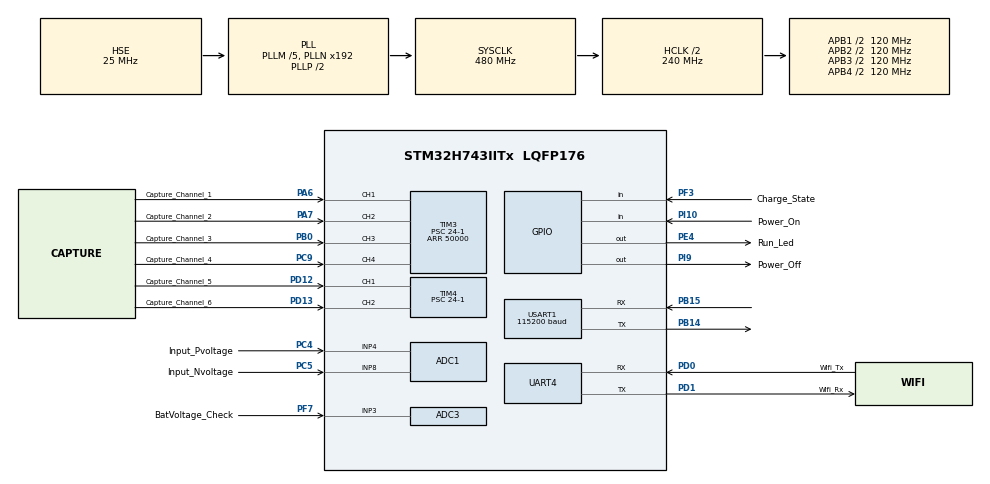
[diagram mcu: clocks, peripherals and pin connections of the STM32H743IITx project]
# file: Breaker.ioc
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ADC1.Channel-0\#ChannelRegularConversion=ADC_CHANNEL_4
ADC1.Channel-1\#ChannelRegularConversion=ADC_CHANNEL_8
ADC1.ClockPrescaler=ADC_CLOCK_ASYNC_DIV4
ADC1.ContinuousConvMode=ENABLE
ADC1.ConversionDataManagement=ADC_CONVERSIONDATA_DMA_CIRCULAR
ADC1.EOCSelection=ADC_EOC_SINGLE_CONV
ADC1.NbrOfConversion=2
ADC1.NbrOfConversionFlag=1
ADC1.OffsetNumber-0\#ChannelRegularConversion=ADC_OFFSET_NONE
ADC1.OffsetNumber-1\#ChannelRegularConversion=ADC_OFFSET_NONE
ADC1.OffsetSignedSaturation-0\#ChannelRegularConversion=DISABLE
ADC1.OffsetSignedSaturation-1\#ChannelRegularConversion=DISABLE
ADC1.OversamplingMode=ENABLE
ADC1.Rank-0\#ChannelRegularConversion=1
ADC1.Rank-1\#ChannelRegularConversion=2
ADC1.Ratio=31
ADC1.RightBitShift=ADC_RIGHTBITSHIFT_5
ADC1.SamplingTime-0\#ChannelRegularConversion=ADC_SAMPLETIME_810CYCLES_5
ADC1.SamplingTime-1\#ChannelRegularConversion=ADC_SAMPLETIME_810CYCLES_5
ADC1.master=1
ADC3.Channel-2\#ChannelRegularConversion=ADC_CHANNEL_3
ADC3.Channel-3\#ChannelRegularConversion=ADC_CHANNEL_TEMPSENSOR
ADC3.ClockPrescaler=ADC_CLOCK_ASYNC_DIV4
ADC3.ContinuousConvMode=ENABLE
ADC3.ConversionDataManagement=ADC_CONVERSIONDATA_DMA_CIRCULAR
ADC3.DiscontinuousConvMode=DISABLE
ADC3.EOCSelection=ADC_EOC_SINGLE_CONV
ADC3.EnableRegularConversion=ENABLE
ADC3.NbrOfConversion=2
ADC3.NbrOfConversionFlag=1
ADC3.OffsetNumber-2\#ChannelRegularConversion=ADC_OFFSET_NONE
ADC3.OffsetNumber-3\#ChannelRegularConversion=ADC_OFFSET_NONE
ADC3.OffsetSignedSaturation-2\#ChannelRegularConversion=DISABLE
ADC3.OffsetSignedSaturation-3\#ChannelRegularConversion=DISABLE
ADC3.OversamplingMode=ENABLE
ADC3.Rank-2\#ChannelRegularConversion=1
ADC3.Rank-3\#ChannelRegularConversion=2
ADC3.Ratio=31
ADC3.Resolution=ADC_RESOLUTION_16B
ADC3.RightBitShift=ADC_RIGHTBITSHIFT_5
ADC3.SamplingTime-2\#ChannelRegularConversion=ADC_SAMPLETIME_810CYCLES_5
ADC3.SamplingTime-3\#ChannelRegularConversion=ADC_SAMPLETIME_810CYCLES_5
Bdma.ADC3.0.Direction=DMA_PERIPH_TO_MEMORY
Bdma.ADC3.0.EventEnable=DISABLE
Bdma.ADC3.0.Instance=BDMA_Channel0
Bdma.ADC3.0.MemDataAlignment=DMA_MDATAALIGN_HALFWORD
Bdma.ADC3.0.MemInc=DMA_MINC_ENABLE
Bdma.ADC3.0.Mode=DMA_CIRCULAR
Bdma.ADC3.0.PeriphDataAlignment=DMA_PDATAALIGN_HALFWORD
Bdma.ADC3.0.PeriphInc=DMA_PINC_DISABLE
Bdma.ADC3.0.Polarity=HAL_DMAMUX_REQ_GEN_RISING
Bdma.ADC3.0.Priority=DMA_PRIORITY_LOW
Bdma.ADC3.0.RequestNumber=1
Bdma.ADC3.0.SignalID=NONE
Bdma.ADC3.0.SyncEnable=DISABLE
Bdma.ADC3.0.SyncPolarity=HAL_DMAMUX_SYNC_NO_EVENT
Bdma.ADC3.0.SyncRequestNumber=1
Bdma.ADC3.0.SyncSignalID=NONE
Bdma.Request0=ADC3
Bdma.RequestsNb=1
CORTEX_M7.AccessPermission-Cortex_Memory_Protection_Unit_Region0_Settings=MPU_REGION_FULL_ACCESS
CORTEX_M7.AccessPermission-Cortex_Memory_Protection_Unit_Region1_Settings=MPU_REGION_FULL_ACCESS
CORTEX_M7.AccessPermission-Cortex_Memory_Protection_Unit_Region2_Settings=MPU_REGION_FULL_ACCESS
CORTEX_M7.BaseAddress-Cortex_Memory_Protection_Unit_Region0_Settings=0x20000000
CORTEX_M7.BaseAddress-Cortex_Memory_Protection_Unit_Region1_Settings=0x24000000
CORTEX_M7.BaseAddress-Cortex_Memory_Protection_Unit_Region2_Settings=0x38000000
CORTEX_M7.CPU_DCache=Enabled
CORTEX_M7.CPU_ICache=Enabled
CORTEX_M7.Enable-Cortex_Memory_Protection_Unit_Region0_Settings=MPU_REGION_ENABLE
CORTEX_M7.Enable-Cortex_Memory_Protection_Unit_Region1_Settings=MPU_REGION_ENABLE
CORTEX_M7.Enable-Cortex_Memory_Protection_Unit_Region2_Settings=MPU_REGION_ENABLE
CORTEX_M7.IsBufferable-Cortex_Memory_Protection_Unit_Region0_Settings=MPU_ACCESS_BUFFERABLE
CORTEX_M7.IsBufferable-Cortex_Memory_Protection_Unit_Region1_Settings=MPU_ACCESS_NOT_BUFFERABLE
CORTEX_M7.IsCacheable-Cortex_Memory_Protection_Unit_Region0_Settings=MPU_ACCESS_CACHEABLE
CORTEX_M7.IsCacheable-Cortex_Memory_Protection_Unit_Region1_Settings=MPU_ACCESS_CACHEABLE
CORTEX_M7.IsCacheable-Cortex_Memory_Protection_Unit_Region2_Settings=MPU_ACCESS_CACHEABLE
CORTEX_M7.MPU_Control=MPU_PRIVILEGED_DEFAULT
CORTEX_M7.Size-Cortex_Memory_Protection_Unit_Region0_Settings=MPU_REGION_SIZE_128KB
CORTEX_M7.Size-Cortex_Memory_Protection_Unit_Region1_Settings=MPU_REGION_SIZE_512KB
CORTEX_M7.Size-Cortex_Memory_Protection_Unit_Region2_Settings=MPU_REGION_SIZE_64KB
CORTEX_M7.TypeExtField-Cortex_Memory_Protection_Unit_Region0_Settings=MPU_TEX_LEVEL1
CORTEX_M7.TypeExtField-Cortex_Memory_Protection_Unit_Region1_Settings=MPU_TEX_LEVEL1
Dma.ADC1.2.Direction=DMA_PERIPH_TO_MEMORY
Dma.ADC1.2.EventEnable=DISABLE
Dma.ADC1.2.FIFOMode=DMA_FIFOMODE_DISABLE
Dma.ADC1.2.Instance=DMA1_Stream2
Dma.ADC1.2.MemDataAlignment=DMA_MDATAALIGN_HALFWORD
Dma.ADC1.2.MemInc=DMA_MINC_ENABLE
Dma.ADC1.2.Mode=DMA_CIRCULAR
Dma.ADC1.2.PeriphDataAlignment=DMA_PDATAALIGN_HALFWORD
Dma.ADC1.2.PeriphInc=DMA_PINC_DISABLE
Dma.ADC1.2.Polarity=HAL_DMAMUX_REQ_GEN_RISING
Dma.ADC1.2.Priority=DMA_PRIORITY_MEDIUM
Dma.ADC1.2.RequestNumber=1
Dma.ADC1.2.SignalID=NONE
Dma.ADC1.2.SyncEnable=DISABLE
Dma.ADC1.2.SyncPolarity=HAL_DMAMUX_SYNC_NO_EVENT
Dma.ADC1.2.SyncRequestNumber=1
Dma.ADC1.2.SyncSignalID=NONE
Dma.Request0=USART1_RX
Dma.Request1=USART1_TX
Dma.Request2=ADC1
Dma.Request3=UART4_TX
Dma.Request4=UART4_RX
Dma.UART4_RX.4.Direction=DMA_PERIPH_TO_MEMORY
Dma.UART4_RX.4.EventEnable=DISABLE
Dma.UART4_RX.4.FIFOMode=DMA_FIFOMODE_DISABLE
Dma.UART4_RX.4.Instance=DMA1_Stream4
Dma.UART4_RX.4.MemDataAlignment=DMA_MDATAALIGN_BYTE
Dma.UART4_RX.4.MemInc=DMA_MINC_ENABLE
Dma.UART4_RX.4.Mode=DMA_NORMAL
Dma.UART4_RX.4.PeriphDataAlignment=DMA_PDATAALIGN_BYTE
Dma.UART4_RX.4.PeriphInc=DMA_PINC_DISABLE
Dma.UART4_RX.4.Polarity=HAL_DMAMUX_REQ_GEN_RISING
Dma.UART4_RX.4.Priority=DMA_PRIORITY_LOW
Dma.UART4_RX.4.RequestNumber=1
Dma.UART4_RX.4.SignalID=NONE
Dma.UART4_RX.4.SyncEnable=DISABLE
Dma.UART4_RX.4.SyncPolarity=HAL_DMAMUX_SYNC_NO_EVENT
Dma.UART4_RX.4.SyncRequestNumber=1
Dma.UART4_RX.4.SyncSignalID=NONE
Dma.UART4_TX.3.Direction=DMA_MEMORY_TO_PERIPH
Dma.UART4_TX.3.EventEnable=DISABLE
Dma.UART4_TX.3.FIFOMode=DMA_FIFOMODE_DISABLE
Dma.UART4_TX.3.Instance=DMA1_Stream3
Dma.UART4_TX.3.MemDataAlignment=DMA_MDATAALIGN_BYTE
Dma.UART4_TX.3.MemInc=DMA_MINC_ENABLE
Dma.UART4_TX.3.Mode=DMA_NORMAL
Dma.UART4_TX.3.PeriphDataAlignment=DMA_PDATAALIGN_BYTE
Dma.UART4_TX.3.PeriphInc=DMA_PINC_DISABLE
Dma.UART4_TX.3.Polarity=HAL_DMAMUX_REQ_GEN_RISING
Dma.UART4_TX.3.Priority=DMA_PRIORITY_LOW
Dma.UART4_TX.3.RequestNumber=1
Dma.UART4_TX.3.SignalID=NONE
Dma.UART4_TX.3.SyncEnable=DISABLE
Dma.UART4_TX.3.SyncPolarity=HAL_DMAMUX_SYNC_NO_EVENT
Dma.UART4_TX.3.SyncRequestNumber=1
Dma.UART4_TX.3.SyncSignalID=NONE
Dma.USART1_RX.0.Direction=DMA_PERIPH_TO_MEMORY
Dma.USART1_RX.0.EventEnable=DISABLE
Dma.USART1_RX.0.FIFOMode=DMA_FIFOMODE_DISABLE
Dma.USART1_RX.0.Instance=DMA1_Stream0
Dma.USART1_RX.0.MemDataAlignment=DMA_MDATAALIGN_BYTE
Dma.USART1_RX.0.MemInc=DMA_MINC_ENABLE
Dma.USART1_RX.0.Mode=DMA_NORMAL
Dma.USART1_RX.0.PeriphDataAlignment=DMA_PDATAALIGN_BYTE
Dma.USART1_RX.0.PeriphInc=DMA_PINC_DISABLE
Dma.USART1_RX.0.Polarity=HAL_DMAMUX_REQ_GEN_RISING
Dma.USART1_RX.0.Priority=DMA_PRIORITY_HIGH
Dma.USART1_RX.0.RequestNumber=1
Dma.USART1_RX.0.SignalID=NONE
Dma.USART1_RX.0.SyncEnable=DISABLE
Dma.USART1_RX.0.SyncPolarity=HAL_DMAMUX_SYNC_NO_EVENT
Dma.USART1_RX.0.SyncRequestNumber=1
Dma.USART1_RX.0.SyncSignalID=NONE
Dma.USART1_TX.1.Direction=DMA_MEMORY_TO_PERIPH
Dma.USART1_TX.1.EventEnable=DISABLE
Dma.USART1_TX.1.FIFOMode=DMA_FIFOMODE_DISABLE
Dma.USART1_TX.1.Instance=DMA1_Stream1
Dma.USART1_TX.1.MemDataAlignment=DMA_MDATAALIGN_BYTE
Dma.USART1_TX.1.MemInc=DMA_MINC_ENABLE
Dma.USART1_TX.1.Mode=DMA_NORMAL
Dma.USART1_TX.1.PeriphDataAlignment=DMA_PDATAALIGN_BYTE
Dma.USART1_TX.1.PeriphInc=DMA_PINC_DISABLE
Dma.USART1_TX.1.Polarity=HAL_DMAMUX_REQ_GEN_RISING
Dma.USART1_TX.1.Priority=DMA_PRIORITY_HIGH
Dma.USART1_TX.1.RequestNumber=1
Dma.USART1_TX.1.SignalID=NONE
Dma.USART1_TX.1.SyncEnable=DISABLE
Dma.USART1_TX.1.SyncPolarity=HAL_DMAMUX_SYNC_NO_EVENT
Dma.USART1_TX.1.SyncRequestNumber=1
Dma.USART1_TX.1.SyncSignalID=NONE
FREERTOS.Tasks01=Uart_Task,0,256,Report_Task,Default,NULL,Dynamic,NULL,NULL;Run_Task,-2,128,Led_Task,Default,NULL,Dynamic,NULL,NULL;Data_HandleTask,1,1024,Wave_HandleTask,Default,NULL,Dynamic,NULL,NULL;Dwin_Task,2,512,Dwin_HandleTask,Default,NULL,Dynamic,NULL,NULL;IWDG_Task,3,128,Idog_Task,Default,NULL,Dynamic,NULL,NULL;Sampling_Task,-1,256,Adc_Task,Default,NULL,Dynamic,NULL,NULL
FREERTOS.configENABLE_FPU=1
FREERTOS.configQUEUE_REGISTRY_SIZE=16
FREERTOS.configTOTAL_HEAP_SIZE=12288
FREERTOS.configUSE_COUNTING_SEMAPHORES=0
FREERTOS.configUSE_RECURSIVE_MUTEXES=0
FREERTOS.configUSE_TIMERS=1
IWDG1.Prescaler=IWDG_PRESCALER_32
IWDG1.Reload=4000
IWDG1.Window=4000
Mcu.Family=STM32H7
Mcu.Name=STM32H743IITx
Mcu.Package=LQFP176
NVIC.BDMA_Channel0_IRQn=true\:5\:0\:true\:false\:true\:true\:false\:true
NVIC.DMA1_Stream0_IRQn=true\:5\:0\:true\:false\:true\:true\:false\:true
NVIC.DMA1_Stream1_IRQn=true\:5\:0\:true\:false\:true\:true\:false\:true
NVIC.DMA1_Stream2_IRQn=true\:5\:0\:false\:false\:true\:true\:false\:true
NVIC.DMA1_Stream3_IRQn=true\:5\:0\:false\:false\:true\:true\:false\:true
NVIC.DMA1_Stream4_IRQn=true\:5\:0\:false\:false\:true\:true\:false\:true
NVIC.PriorityGroup=NVIC_PRIORITYGROUP_4
NVIC.TIM2_IRQn=true\:0\:0\:false\:false\:true\:false\:false\:true
NVIC.TIM3_IRQn=true\:1\:0\:true\:false\:true\:false\:true\:true
NVIC.TIM4_IRQn=true\:1\:0\:true\:false\:true\:false\:true\:true
NVIC.TIM6_DAC_IRQn=true\:2\:0\:true\:false\:true\:false\:true\:true
NVIC.TimeBase=TIM2_IRQn
NVIC.TimeBaseIP=TIM2
NVIC.UART4_IRQn=true\:5\:0\:false\:false\:true\:true\:true\:true
NVIC.USART1_IRQn=true\:5\:0\:true\:false\:true\:true\:true\:true
PA6.GPIO_Label=Capture_Channel_1
PA6.GPIO_PuPd=GPIO_PULLDOWN
PA6.GPIO_Speed=GPIO_SPEED_FREQ_VERY_HIGH
PA6.Signal=S_TIM3_CH1
PA7.GPIO_Label=Capture_Channel_2
PA7.GPIO_PuPd=GPIO_PULLDOWN
PA7.GPIO_Speed=GPIO_SPEED_FREQ_VERY_HIGH
PA7.Signal=S_TIM3_CH2
PB0.GPIO_Label=Capture_Channel_3
PB0.GPIO_PuPd=GPIO_PULLDOWN
PB0.GPIO_Speed=GPIO_SPEED_FREQ_VERY_HIGH
PB0.Signal=S_TIM3_CH3
PB14.GPIO_Speed=GPIO_SPEED_FREQ_VERY_HIGH
PB14.Mode=Asynchronous
PB14.Signal=USART1_TX
PB15.GPIO_Speed=GPIO_SPEED_FREQ_VERY_HIGH
PB15.Mode=Asynchronous
PB15.Signal=USART1_RX
PC14-OSC32_IN\ (OSC32_IN).Mode=LSE-External-Oscillator
PC14-OSC32_IN\ (OSC32_IN).Signal=RCC_OSC32_IN
PC15-OSC32_OUT\ (OSC32_OUT).Mode=LSE-External-Oscillator
PC15-OSC32_OUT\ (OSC32_OUT).Signal=RCC_OSC32_OUT
PC4.GPIO_Label=Input_Pvoltage
PC4.Signal=ADCx_INP4
PC5.GPIO_Label=Input_Nvoltage
PC5.Signal=ADCx_INP8
PC9.GPIO_Label=Capture_Channel_4
PC9.GPIO_PuPd=GPIO_PULLDOWN
PC9.GPIO_Speed=GPIO_SPEED_FREQ_VERY_HIGH
PC9.Signal=S_TIM3_CH4
PD0.GPIO_Label=Wifi_Tx
PD0.Mode=Asynchronous
PD0.Signal=UART4_RX
PD1.GPIO_Label=Wifi_Rx
PD1.Mode=Asynchronous
PD1.Signal=UART4_TX
PD12.GPIO_Label=Capture_Channel_5
PD12.GPIO_PuPd=GPIO_PULLDOWN
PD12.GPIO_Speed=GPIO_SPEED_FREQ_VERY_HIGH
PD12.Signal=S_TIM4_CH1
PD13.GPIO_Label=Capture_Channel_6
PD13.GPIO_PuPd=GPIO_PULLDOWN
PD13.GPIO_Speed=GPIO_SPEED_FREQ_VERY_HIGH
PD13.Signal=S_TIM4_CH2
PE4.GPIO_Label=Run_Led
PE4.Signal=GPIO_Output
PF3.GPIO_Label=Charge_State
PF3.Signal=GPIO_Input
PF7.GPIO_Label=BatVoltage_Check
PF7.Mode=IN3-Single-Ended
PF7.Signal=ADC3_INP3
PH0-OSC_IN\ (PH0).Mode=HSE-External-Oscillator
PH0-OSC_IN\ (PH0).Signal=RCC_OSC_IN
PH1-OSC_OUT\ (PH1).Mode=HSE-External-Oscillator
PH1-OSC_OUT\ (PH1).Signal=RCC_OSC_OUT
PI10.GPIO_Label=Power_On
PI10.Signal=GPIO_Input
PI9.GPIO_Label=Power_Off
PI9.GPIO_PuPd=GPIO_PULLUP
PI9.GPIO_Speed=GPIO_SPEED_FREQ_VERY_HIGH
PI9.PinState=GPIO_PIN_RESET
PI9.Signal=GPIO_Output
ProjectManager.HeapSize=0x200
ProjectManager.StackSize=0x2000
ProjectManager.TargetToolchain=MDK-ARM V5.27
RCC.ADCFreq_Value=80000000
RCC.APB1Freq_Value=120000000
RCC.APB2Freq_Value=120000000
RCC.APB3Freq_Value=120000000
RCC.APB4Freq_Value=120000000
RCC.CortexFreq_Value=480000000
RCC.D1PPRE=RCC_APB3_DIV2
RCC.D2PPRE1=RCC_APB1_DIV2
RCC.D2PPRE2=RCC_APB2_DIV2
RCC.D3PPRE=RCC_APB4_DIV2
RCC.DIVM1=5
RCC.DIVM2=5
RCC.DIVM3=5
RCC.DIVN1=192
RCC.DIVN2=32
RCC.DIVN3=32
RCC.HCLKFreq_Value=240000000
RCC.HPRE=RCC_HCLK_DIV2
RCC.HSE_VALUE=25000000
RCC.PLLSourceVirtual=RCC_PLLSOURCE_HSE
RCC.SYSCLKFreq_VALUE=480000000
RCC.SYSCLKSource=RCC_SYSCLKSOURCE_PLLCLK
RCC.USBFreq_Value=480000000
SH.ADCx_INP4.0=ADC1_INP4,IN4-Single-Ended
SH.ADCx_INP8.0=ADC1_INP8,IN8-Single-Ended
SH.S_TIM3_CH1.0=TIM3_CH1,Input_Capture1_from_TI1
SH.S_TIM3_CH2.0=TIM3_CH2,Input_Capture2_from_TI2
SH.S_TIM3_CH3.0=TIM3_CH3,Input_Capture3_from_TI3
SH.S_TIM3_CH4.0=TIM3_CH4,Input_Capture4_from_TI4
SH.S_TIM4_CH1.0=TIM4_CH1,Input_Capture1_from_TI1
SH.S_TIM4_CH2.0=TIM4_CH2,Input_Capture2_from_TI2
TIM3.AutoReloadPreload=TIM_AUTORELOAD_PRELOAD_ENABLE
TIM3.Channel-Input_Capture1_from_TI1=TIM_CHANNEL_1
TIM3.Channel-Input_Capture2_from_TI2=TIM_CHANNEL_2
TIM3.Channel-Input_Capture3_from_TI3=TIM_CHANNEL_3
TIM3.Channel-Input_Capture4_from_TI4=TIM_CHANNEL_4
TIM3.ICFilter_CH1=0
TIM3.ICFilter_CH2=0
TIM3.ICFilter_CH3=0
TIM3.ICFilter_CH4=0
TIM3.ICPolarity_CH1=TIM_INPUTCHANNELPOLARITY_BOTHEDGE
TIM3.ICPolarity_CH2=TIM_INPUTCHANNELPOLARITY_BOTHEDGE
TIM3.ICPolarity_CH3=TIM_INPUTCHANNELPOLARITY_BOTHEDGE
TIM3.ICPolarity_CH4=TIM_INPUTCHANNELPOLARITY_BOTHEDGE
TIM3.Period=50000
TIM3.Prescaler=24-1
TIM3.TIM_MasterOutputTrigger=TIM_TRGO_RESET
TIM4.Channel-Input_Capture1_from_TI1=TIM_CHANNEL_1
TIM4.Channel-Input_Capture2_from_TI2=TIM_CHANNEL_2
TIM4.ICPolarity_CH1=TIM_INPUTCHANNELPOLARITY_BOTHEDGE
TIM4.ICPolarity_CH2=TIM_INPUTCHANNELPOLARITY_BOTHEDGE
TIM4.Period=50000
TIM4.Prescaler=24-1
TIM4.TIM_MasterOutputTrigger=TIM_TRGO_RESET
TIM4.TIM_MasterSlaveMode=TIM_MASTERSLAVEMODE_DISABLE
TIM6.AutoReloadPreload=TIM_AUTORELOAD_PRELOAD_ENABLE
TIM6.Period=10000
TIM6.Prescaler=240-1
USART1.BaudRate=115200
USART1.FIFOMode=FIFOMODE_DISABLE
USART1.TXFIFOThreshold=TXFIFO_THRESHOLD_1EIGHTHFULL
USART1.VirtualMode-Asynchronous=VM_ASYNC
VP_ADC3_TempSens_Input.Mode=IN-TempSens
VP_FREERTOS_VS_CMSIS_V1.Mode=CMSIS_V1
VP_IWDG1_VS_IWDG.Mode=IWDG_Activate
VP_SYS_VS_tim2.Mode=TIM2
VP_TIM3_VS_ClockSourceINT.Mode=Internal
VP_TIM4_VS_ClockSourceINT.Mode=Internal
VP_TIM6_VS_ClockSourceINT.Mode=Enable_Timer
board=custom

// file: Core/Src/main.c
/* USER CODE BEGIN Header */
/**
 ******************************************************************************
 * @file           : main.c
 * @brief          : Main program body
 ******************************************************************************
 * @attention
 *
 * <h2><center>&copy; Copyright (c) 2021 STMicroelectronics.
 * All rights reserved.</center></h2>
 *
 * This software component is licensed by ST under BSD 3-Clause license,
 * the "License"; You may not use this file except in compliance with the
 * License. You may obtain a copy of the License at:
 *                        opensource.org/licenses/BSD-3-Clause
 *
 ******************************************************************************
 */
/* USER CODE END Header */
#include "main.h"
#include "cmsis_os.h"
#include "adc.h"
#include "bdma.h"
#include "dma.h"
#include "iwdg.h"
#include "tim.h"
#include "usart.h"
#include "gpio.h"

/* USER CODE BEGIN Includes */
#include "Dwin.h"
#include "mdrtuslave.h"
/* USER CODE END Includes */

/* USER CODE BEGIN PTD */
// extern osSemaphoreId SynData_HandleHandle;
/* USER CODE END PTD */

void SystemClock_Config(void);
void PeriphCommonClock_Config(void);
static void MPU_Config(void);
void MX_FREERTOS_Init(void);

int main(void)
{

  /* MPU Configuration--------------------------------------------------------*/
  MPU_Config();

  /* Enable I-Cache---------------------------------------------------------*/
  SCB_EnableICache();

  /* Enable D-Cache---------------------------------------------------------*/
  SCB_EnableDCache();

  /* MCU Configuration--------------------------------------------------------*/

  /* Reset of all peripherals, Initializes the Flash interface and the Systick. */
  HAL_Init();

  /* Configure the system clock */
  SystemClock_Config();

/* Configure the peripherals common clocks */
  PeriphCommonClock_Config();

  /* Initialize all configured peripherals */
  MX_GPIO_Init();
  MX_BDMA_Init();
  MX_DMA_Init();
  MX_USART1_UART_Init();
  MX_TIM3_Init();
  MX_TIM4_Init();
  MX_TIM6_Init();
  MX_IWDG1_Init();
  MX_ADC1_Init();
  MX_ADC3_Init();
  MX_UART4_Init();
  /* USER CODE BEGIN 2 */
  HAL_TIM_IC_Start_IT(&htim3, TIM_CHANNEL_1);
  HAL_TIM_IC_Start_IT(&htim3, TIM_CHANNEL_2);
  HAL_TIM_IC_Start_IT(&htim3, TIM_CHANNEL_3);
  HAL_TIM_IC_Start_IT(&htim3, TIM_CHANNEL_4);
  HAL_TIM_IC_Start_IT(&htim4, TIM_CHANNEL_1);
  HAL_TIM_IC_Start_IT(&htim4, TIM_CHANNEL_2);
  /*Enable update interrupt*/
  __HAL_TIM_ENABLE_IT(&htim3, TIM_IT_UPDATE);
  __HAL_TIM_ENABLE_IT(&htim4, TIM_IT_UPDATE);
  /*open timer6*/
  HAL_TIM_Base_Start_IT(&htim6);
  /*Calibrate ADC with offset calibration*/
  if (HAL_ADCEx_Calibration_Start(&hadc1, ADC_CALIB_OFFSET, ADC_SINGLE_ENDED) == HAL_OK)
  {
    /*Positive and negative 110V voltage detection*/
    if (HAL_ADC_Start_DMA(&hadc1, (uint32_t *)adc_buf, 2U) != HAL_OK)
    {
      Error_Handler();
    }
  }
  else
  {
    Error_Handler(); //__FILE__, __LINE__
  }
  /*Calibrate ADC with offset calibration*/
  if (HAL_ADCEx_Calibration_Start(&hadc3, ADC_CALIB_OFFSET, ADC_SINGLE_ENDED) == HAL_OK)
  {
    /*Battery voltage and chip temperature detection*/
    if (HAL_ADC_Start_DMA(&hadc3, (uint32_t *)&adc_buf[2U], 2U) != HAL_OK)
    {
      Error_Handler();
    }
  }
  else
  {
    Error_Handler(); //__FILE__, __LINE__
  }
  /*Initialize linked list*/
  for (uint8_t i = 0; i < LIST_SIZE; i++)
  {
    Init_List(&List_Map[i], i);
  }
  /*Initialize Devon screen*/
  Dwin_Init();
  // HAL_Delay(1000);
  HAL_GPIO_WritePin(Power_Off_GPIO_Port, Power_Off_Pin, GPIO_PIN_SET);
#if (USING_UART4)
  /*Initialize Modbus protocol stack*/
  ModbusInit();
#endif
  /* USER CODE END 2 */

  /* Call init function for freertos objects (in freertos.c) */
  MX_FREERTOS_Init();
  /* Start scheduler */
  osKernelStart();

  /* We should never get here as control is now taken by the scheduler */
  /* Infinite loop */
  while (1)
  {

    /* USER CODE BEGIN 3 */
    // Wave_Handle();
    // HAL_Delay(500);
  }
  /* USER CODE END 3 */
}

void SystemClock_Config(void)
{
  RCC_OscInitTypeDef RCC_OscInitStruct = {0};
  RCC_ClkInitTypeDef RCC_ClkInitStruct = {0};

  /** Supply configuration update enable
  */
  HAL_PWREx_ConfigSupply(PWR_LDO_SUPPLY);
  /** Configure the main internal regulator output voltage
  */
  __HAL_PWR_VOLTAGESCALING_CONFIG(PWR_REGULATOR_VOLTAGE_SCALE0);

  while(!__HAL_PWR_GET_FLAG(PWR_FLAG_VOSRDY)) {}
  /** Macro to configure the PLL clock source
  */
  __HAL_RCC_PLL_PLLSOURCE_CONFIG(RCC_PLLSOURCE_HSE);
  /** Initializes the RCC Oscillators according to the specified parameters
  * in the RCC_OscInitTypeDef structure.
  */
  RCC_OscInitStruct.OscillatorType = RCC_OSCILLATORTYPE_LSI|RCC_OSCILLATORTYPE_HSE;
  RCC_OscInitStruct.HSEState = RCC_HSE_ON;
  RCC_OscInitStruct.LSIState = RCC_LSI_ON;
  RCC_OscInitStruct.PLL.PLLState = RCC_PLL_ON;
  RCC_OscInitStruct.PLL.PLLSource = RCC_PLLSOURCE_HSE;
  RCC_OscInitStruct.PLL.PLLM = 5;
  RCC_OscInitStruct.PLL.PLLN = 192;
  RCC_OscInitStruct.PLL.PLLP = 2;
  RCC_OscInitStruct.PLL.PLLQ = 2;
  RCC_OscInitStruct.PLL.PLLR = 2;
  RCC_OscInitStruct.PLL.PLLRGE = RCC_PLL1VCIRANGE_2;
  RCC_OscInitStruct.PLL.PLLVCOSEL = RCC_PLL1VCOWIDE;
  RCC_OscInitStruct.PLL.PLLFRACN = 0;
  if (HAL_RCC_OscConfig(&RCC_OscInitStruct) != HAL_OK)
  {
    Error_Handler();
  }
  /** Initializes the CPU, AHB and APB buses clocks
  */
  RCC_ClkInitStruct.ClockType = RCC_CLOCKTYPE_HCLK|RCC_CLOCKTYPE_SYSCLK
                              |RCC_CLOCKTYPE_PCLK1|RCC_CLOCKTYPE_PCLK2
                              |RCC_CLOCKTYPE_D3PCLK1|RCC_CLOCKTYPE_D1PCLK1;
  RCC_ClkInitStruct.SYSCLKSource = RCC_SYSCLKSOURCE_PLLCLK;
  RCC_ClkInitStruct.SYSCLKDivider = RCC_SYSCLK_DIV1;
  RCC_ClkInitStruct.AHBCLKDivider = RCC_HCLK_DIV2;
  RCC_ClkInitStruct.APB3CLKDivider = RCC_APB3_DIV2;
  RCC_ClkInitStruct.APB1CLKDivider = RCC_APB1_DIV2;
  RCC_ClkInitStruct.APB2CLKDivider = RCC_APB2_DIV2;
  RCC_ClkInitStruct.APB4CLKDivider = RCC_APB4_DIV2;

  if (HAL_RCC_ClockConfig(&RCC_ClkInitStruct, FLASH_LATENCY_4) != HAL_OK)
  {
    Error_Handler();
  }
}

void PeriphCommonClock_Config(void)
{
  RCC_PeriphCLKInitTypeDef PeriphClkInitStruct = {0};

  /** Initializes the peripherals clock
  */
  PeriphClkInitStruct.PeriphClockSelection = RCC_PERIPHCLK_ADC;
  PeriphClkInitStruct.PLL2.PLL2M = 5;
  PeriphClkInitStruct.PLL2.PLL2N = 32;
  PeriphClkInitStruct.PLL2.PLL2P = 2;
  PeriphClkInitStruct.PLL2.PLL2Q = 2;
  PeriphClkInitStruct.PLL2.PLL2R = 2;
  PeriphClkInitStruct.PLL2.PLL2RGE = RCC_PLL2VCIRANGE_2;
  PeriphClkInitStruct.PLL2.PLL2VCOSEL = RCC_PLL2VCOMEDIUM;
  PeriphClkInitStruct.PLL2.PLL2FRACN = 0;
  PeriphClkInitStruct.AdcClockSelection = RCC_ADCCLKSOURCE_PLL2;
  if (HAL_RCCEx_PeriphCLKConfig(&PeriphClkInitStruct) != HAL_OK)
  {
    Error_Handler();
  }
}

/* USER CODE BEGIN 4 */

/**
 * @brief  Overflow processing
 * @param  list Pointer to the first node of the current linked list
 * @retval None
 */
__attribute__((section("ITCM"))) static __inline void Overflow_Handle(Dwin_List *list)
{
  if (CURRENT_NODE.timer_synflag)
  {
    /*counter Number of overflows*/
    CURRENT_NODE.overflows_num++;
  }
}

/**
 * @brief  timeout handler
 * @param  list Pointer to the first node of the current linked list
 * @retval None
 */
__attribute__((section("ITCM"))) static __inline void Timeout_Handle(Dwin_List *list)
{
  /*Avoid the error caused by the first overtime = 0*/
  if ((CURRENT_NODE.overtimes) && (CURRENT_NODE.timer_synflag))
  { /*Timeout and more than two pulses must be captured*/
    if (!(--CURRENT_NODE.overtimes))
    {
      /*Reset timer synchronization flag*/
      CURRENT_NODE.timer_synflag = false;
      /*Calculate the stabilization time on / off*/
      // Get_NodeTimes(list);
      // GET_NODETIMES(list);
      /*Obtain the pin level at the end of capture*/
      list->end_sate = GET_CHANNEL_PIN_STATE(list);
      /*Data collection completed*/
      CURRENT_NODE.data_flag = true;
      /*Record currently captured nodes*/
      list->complete_node = list->current_node;
      /*Point to the next node*/
      if ((++list->current_node) >= LISTNODE_SIZE)
      {
        list->current_node = 0U;
      }
      /*Send data processing signal*/
      // osSemaphoreRelease(SynData_HandleHandle);
    }
  }
}
/* USER CODE END 4 */

/* MPU Configuration */

void MPU_Config(void)
{
  MPU_Region_InitTypeDef MPU_InitStruct = {0};

  /* Disables the MPU */
  HAL_MPU_Disable();
  /** Initializes and configures the Region and the memory to be protected
  */
  MPU_InitStruct.Enable = MPU_REGION_ENABLE;
  MPU_InitStruct.Number = MPU_REGION_NUMBER0;
  MPU_InitStruct.BaseAddress = 0x20000000;
  MPU_InitStruct.Size = MPU_REGION_SIZE_128KB;
  MPU_InitStruct.SubRegionDisable = 0x0;
  MPU_InitStruct.TypeExtField = MPU_TEX_LEVEL1;
  MPU_InitStruct.AccessPermission = MPU_REGION_FULL_ACCESS;
  MPU_InitStruct.DisableExec = MPU_INSTRUCTION_ACCESS_ENABLE;
  MPU_InitStruct.IsShareable = MPU_ACCESS_NOT_SHAREABLE;
  MPU_InitStruct.IsCacheable = MPU_ACCESS_CACHEABLE;
  MPU_InitStruct.IsBufferable = MPU_ACCESS_BUFFERABLE;

  HAL_MPU_ConfigRegion(&MPU_InitStruct);
  /** Initializes and configures the Region and the memory to be protected
  */
  MPU_InitStruct.Number = MPU_REGION_NUMBER1;
  MPU_InitStruct.BaseAddress = 0x24000000;
  MPU_InitStruct.Size = MPU_REGION_SIZE_512KB;
  MPU_InitStruct.IsBufferable = MPU_ACCESS_NOT_BUFFERABLE;

  HAL_MPU_ConfigRegion(&MPU_InitStruct);
  /** Initializes and configures the Region and the memory to be protected
  */
  MPU_InitStruct.Number = MPU_REGION_NUMBER2;
  MPU_InitStruct.BaseAddress = 0x38000000;
  MPU_InitStruct.Size = MPU_REGION_SIZE_64KB;
  MPU_InitStruct.TypeExtField = MPU_TEX_LEVEL0;

  HAL_MPU_ConfigRegion(&MPU_InitStruct);
  /* Enables the MPU */
  HAL_MPU_Enable(MPU_PRIVILEGED_DEFAULT);

}
void HAL_TIM_PeriodElapsedCallback(TIM_HandleTypeDef *htim)
{
  /* USER CODE BEGIN Callback 0 */
  /*Timer update interrupt (overflow) interrupt processing callback function,
  in HAL_ TIM_ IRQHandler will be called*/
  /* USER CODE END Callback 0 */
  if (htim->Instance == TIM2) {
    HAL_IncTick();
  }
  /* USER CODE BEGIN Callback 1 */
  /*Overflow interrupt*/
  else if (htim->Instance == TIM3)
  {
    for (uint8_t i = 0; i < LIST_SIZE - 2U; i++)
    {
      Overflow_Handle(&List_Map[i]);
      // OVERFLOW_HANDLE(List_Map[i]);
    }
    // Overflow_Handle(&List_Map[0]);
  }
  else if (htim->Instance == TIM4)
  {
    for (uint8_t i = 4; i < LIST_SIZE; i++)
    {
      Overflow_Handle(&List_Map[i]);
      // OVERFLOW_HANDLE(List_Map[i]);
    }
  }
  else if (htim->Instance == TIM6)
  {
    /*feed a dog*/
    HAL_IWDG_Refresh(&hiwdg1);
    for (uint8_t i = 0; i < LIST_SIZE; i++)
    {
      Timeout_Handle(&List_Map[i]);
    }
    // Timeout_Handle(&List_Map[0]);
  }
  /* USER CODE END Callback 1 */
}

void Error_Handler(void)
{
  /* USER CODE BEGIN Error_Handler_Debug */
  /* User can add his own implementation to report the HAL error return state */
  __disable_irq();
  while (1)
  {
#if (USING_DEBUG)

#endif
  }
  /* USER CODE END Error_Handler_Debug */
}

/************************ (C) COPYRIGHT STMicroelectronics *****END OF FILE****/

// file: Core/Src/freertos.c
/* USER CODE BEGIN Header */
/**
 ******************************************************************************
 * File Name          : freertos.c
 * Description        : Code for freertos applications
 ******************************************************************************
 * @attention
 *
 * <h2><center>&copy; Copyright (c) 2021 STMicroelectronics.
 * All rights reserved.</center></h2>
 *
 * This software component is licensed by ST under Ultimate Liberty license
 * SLA0044, the "License"; You may not use this file except in compliance with
 * the License. You may obtain a copy of the License at:
 *                             www.st.com/SLA0044
 *
 ******************************************************************************
 */
/* USER CODE END Header */

#include "FreeRTOS.h"
#include "task.h"
#include "main.h"
#include "cmsis_os.h"

/* USER CODE BEGIN Includes */
#include "mdrtuslave.h"
#include "usart.h"
#include "Dwin.h"
#include "iwdg.h"
#include "adc.h"
/* USER CODE END Includes */

/* USER CODE BEGIN PD */
#define UART_TASK_BIT (0x001 << 0U)
#define RUN_TASK_BIT (0x001 << 1U)
#define WAVE_TASK_BIT (0x001 << 2U)
#define DWIN_TASK_BIT (0x001 << 3U)
#define ADC_TASK_BIT (0x001 << 4U)
#define EVENT_ALL_BIT (UART_TASK_BIT | RUN_TASK_BIT | WAVE_TASK_BIT | DWIN_TASK_BIT | ADC_TASK_BIT)
/* USER CODE END PD */

/* USER CODE BEGIN Variables */
GPIO_PinState led_state = GPIO_PIN_RESET;
EventGroupHandle_t Event_Handle = NULL;
/* USER CODE END Variables */
osThreadId Uart_TaskHandle;
osThreadId Run_TaskHandle;
osThreadId Data_HandleTaskHandle;
osThreadId Dwin_TaskHandle;
osThreadId IWDG_TaskHandle;
osThreadId Sampling_TaskHandle;

void Report_Task(void const * argument);
void Led_Task(void const * argument);
void Wave_HandleTask(void const * argument);
void Dwin_HandleTask(void const * argument);
void Idog_Task(void const * argument);
void Adc_Task(void const * argument);

void MX_FREERTOS_Init(void); /* (MISRA C 2004 rule 8.1) */

/* GetIdleTaskMemory prototype (linked to static allocation support) */
void vApplicationGetIdleTaskMemory( StaticTask_t **ppxIdleTaskTCBBuffer, StackType_t **ppxIdleTaskStackBuffer, uint32_t *pulIdleTaskStackSize );

/* GetTimerTaskMemory prototype (linked to static allocation support) */
void vApplicationGetTimerTaskMemory( StaticTask_t **ppxTimerTaskTCBBuffer, StackType_t **ppxTimerTaskStackBuffer, uint32_t *pulTimerTaskStackSize );

/* USER CODE BEGIN GET_IDLE_TASK_MEMORY */
static StaticTask_t xIdleTaskTCBBuffer;
static StackType_t xIdleStack[configMINIMAL_STACK_SIZE];

void vApplicationGetIdleTaskMemory(StaticTask_t **ppxIdleTaskTCBBuffer, StackType_t **ppxIdleTaskStackBuffer, uint32_t *pulIdleTaskStackSize)
{
  *ppxIdleTaskTCBBuffer = &xIdleTaskTCBBuffer;
  *ppxIdleTaskStackBuffer = &xIdleStack[0];
  *pulIdleTaskStackSize = configMINIMAL_STACK_SIZE;
  /* place for user code */
}
/* USER CODE END GET_IDLE_TASK_MEMORY */

/* USER CODE BEGIN GET_TIMER_TASK_MEMORY */
static StaticTask_t xTimerTaskTCBBuffer;
static StackType_t xTimerStack[configTIMER_TASK_STACK_DEPTH];

void vApplicationGetTimerTaskMemory(StaticTask_t **ppxTimerTaskTCBBuffer, StackType_t **ppxTimerTaskStackBuffer, uint32_t *pulTimerTaskStackSize)
{
  *ppxTimerTaskTCBBuffer = &xTimerTaskTCBBuffer;
  *ppxTimerTaskStackBuffer = &xTimerStack[0];
  *pulTimerTaskStackSize = configTIMER_TASK_STACK_DEPTH;
  /* place for user code */
}
/* USER CODE END GET_TIMER_TASK_MEMORY */

void MX_FREERTOS_Init(void) {

  /* USER CODE BEGIN RTOS_TIMERS */
  /* start timers, add new ones, ... */
  /* Create event flag group */
  Event_Handle = xEventGroupCreate();
  /* USER CODE END RTOS_TIMERS */

  /* Create the thread(s) */
  /* definition and creation of Uart_Task */
  osThreadDef(Uart_Task, Report_Task, osPriorityNormal, 0, 256);
  Uart_TaskHandle = osThreadCreate(osThread(Uart_Task), NULL);

  /* definition and creation of Run_Task */
  osThreadDef(Run_Task, Led_Task, osPriorityLow, 0, 128);
  Run_TaskHandle = osThreadCreate(osThread(Run_Task), NULL);

  /* definition and creation of Data_HandleTask */
  osThreadDef(Data_HandleTask, Wave_HandleTask, osPriorityAboveNormal, 0, 1024);
  Data_HandleTaskHandle = osThreadCreate(osThread(Data_HandleTask), NULL);

  /* definition and creation of Dwin_Task */
  osThreadDef(Dwin_Task, Dwin_HandleTask, osPriorityHigh, 0, 512);
  Dwin_TaskHandle = osThreadCreate(osThread(Dwin_Task), NULL);

  /* definition and creation of IWDG_Task */
  osThreadDef(IWDG_Task, Idog_Task, osPriorityRealtime, 0, 128);
  IWDG_TaskHandle = osThreadCreate(osThread(IWDG_Task), NULL);

  /* definition and creation of Sampling_Task */
  osThreadDef(Sampling_Task, Adc_Task, osPriorityBelowNormal, 0, 256);
  Sampling_TaskHandle = osThreadCreate(osThread(Sampling_Task), NULL);

}

void Report_Task(void const * argument)
{
  /* USER CODE BEGIN Report_Task */
  /* Infinite loop */
  for (;;)
  {
    /*Set event flag bit*/
    xEventGroupSetBits(Event_Handle, UART_TASK_BIT);
    /*Wait for the notification of Wave_HandleTask to enter blocking*/
    ulTaskNotifyTake(pdTRUE, portMAX_DELAY);
#if (!USING_DEBUG)
    Report_TimeConsum();
#endif
  }
  /* USER CODE END Report_Task */
}

void Led_Task(void const * argument)
{
  /* USER CODE BEGIN Led_Task */
  /* Infinite loop */
  for (;;)
  {
    /*Set event flag bit*/
    xEventGroupSetBits(Event_Handle, RUN_TASK_BIT);
    led_state ^= 1;
    HAL_GPIO_WritePin(Run_Led_GPIO_Port, Run_Led_Pin, led_state);
    osDelay(500);
  }
  /* USER CODE END Led_Task */
}

void Wave_HandleTask(void const * argument)
{
  /* USER CODE BEGIN Wave_HandleTask */
  /* Infinite loop */
  for (;;)
  {
    /*Set event flag bit*/
    xEventGroupSetBits(Event_Handle, WAVE_TASK_BIT);
    /*Wait for data processing signal from interrupt*/
    // osSemaphoreWait(SynData_HandleHandle, osWaitForever);
    if (Wave_Handle())
    {
      /*If you send a notification without a notification value
      and do not retain the original notification value of the
      received task, the notification value of the received task
      will be increased by one.*/
      xTaskNotifyGive(Uart_TaskHandle);
    }
    osDelay(1);
  }
  /* USER CODE END Wave_HandleTask */
}

void Dwin_HandleTask(void const * argument)
{
  /* USER CODE BEGIN Dwin_HandleTask */
  /* Infinite loop */
  for (;;)
  {
    /*Set event flag bit*/
    xEventGroupSetBits(Event_Handle, DWIN_TASK_BIT);
    if (Uart_Dma.recv_end_flag)
    { /*Clear receive completion flag*/
      Uart_Dma.recv_end_flag = false;
      /*Devon screen response event polling*/
      Dwin_Poll();
      /*Clear data buffer and data length*/
      memset(Uart_Dma.rx_buffer, 0, Uart_Dma.rx_len);
      Uart_Dma.rx_len = 0;
      /*Reopen DMA reception*/
      HAL_UART_Receive_DMA(&huart1, Uart_Dma.rx_buffer, RX_BUF_SIZE);
    }
#if (USING_UART4)
    else if (Uart_Dma4.recv_end_flag)
    {
      /*Clear receive completion flag*/
      Uart_Dma4.recv_end_flag = false;
      /*WIFI response event polling*/
      mdhandler->portRTUPushString(mdhandler, Uart_Dma4.rx_buffer, Uart_Dma4.rx_len);
      /*Clear data buffer and data length*/
      memset(Uart_Dma4.rx_buffer, 0, Uart_Dma4.rx_len);
      Uart_Dma4.rx_len = 0;
      /*Reopen DMA reception*/
      HAL_UART_Receive_DMA(&huart4, Uart_Dma4.rx_buffer, RX_BUF_SIZE);
    }
#endif
    osDelay(1);
  }
  /* USER CODE END Dwin_HandleTask */
}

void Idog_Task(void const * argument)
{
  /* USER CODE BEGIN Idog_Task */
  EventBits_t uxBits;
  /* Infinite loop */
  for (;;)
  {
    /*Wait for event flags from all tasks*/
    uxBits = xEventGroupWaitBits(Event_Handle,   /* Event flag group handle*/
                                 EVENT_ALL_BIT,  /* Wait for EVENT_ALL_BIT is set */
                                 pdTRUE,         /* Task before exiting EVENT_ALL_BIT is cleared. This is EVENT_ALL_BITis set to indicate "exit"*/
                                 pdTRUE,         /* Set to pdtrue to wait for EVENT_ALL_BIT is set*/
                                 osWaitForever); /* Timeout has been waiting */
    if ((uxBits & EVENT_ALL_BIT) == EVENT_ALL_BIT)
    {
      /*feed a dog*/
      HAL_IWDG_Refresh(&hiwdg1);
    }
    // osDelay(200);
  }
  /* USER CODE END Idog_Task */
}

void Adc_Task(void const * argument)
{
  /* USER CODE BEGIN Adc_Task */
  /*Set event flag bit*/
  xEventGroupSetBits(Event_Handle, ADC_TASK_BIT);
  /* Infinite loop */
  for (;;)
  {
    /*ADC data processing*/
    Adc_Handle();
#if (USING_DEBUG)
#if (ADC_DEBUG)
    osDelay(1000);
#endif
#else
    osDelay(2000);
#endif
  }
  /* USER CODE END Adc_Task */
}

/************************ (C) COPYRIGHT STMicroelectronics *****END OF FILE****/
